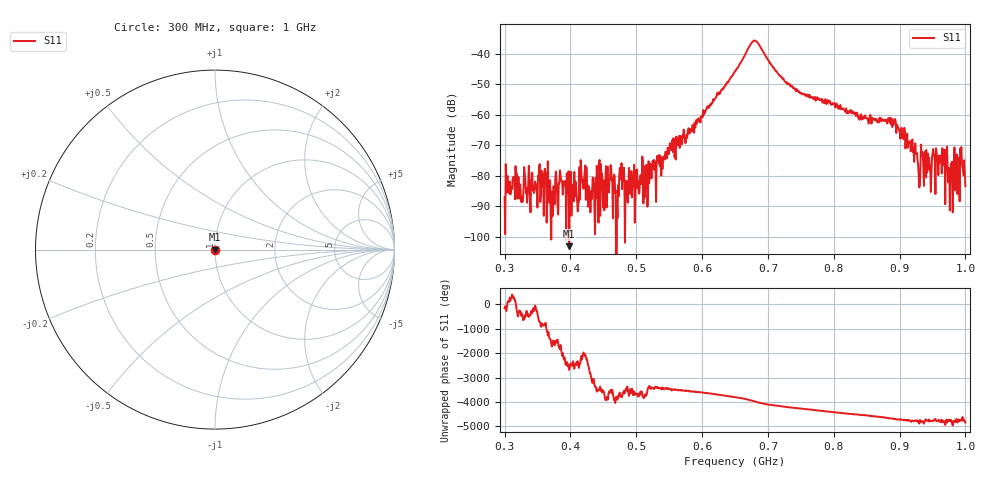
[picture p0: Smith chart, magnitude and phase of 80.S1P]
! C:\Users\rflab\Downloads\q2\80.S1P
! Touchstone 1.1 file saved by VNA.EXE V1.65 (www.ke5fx.com/gpib/readme.htm)
! 11/20/2024 11:08:46 AM
!  Source: HEWLETT PACKARD,8753D,0,6.14
!  Min freq: 3.000000E+008 Hz
!  Max freq: 1.000000E+009 Hz
!  Points: 801
!  Params: S21
# GHZ S MA R 50
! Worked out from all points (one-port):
!   801 points, 300 MHz to 1 GHz, reference 50 ohm
!   lowest |S11| = -103.1 dB at 398 MHz (marker M1), VSWR 1.00, Z = 50 - j0.000124 ohm
!   |S11| at or under -10 dB: start of sweep to end of sweep
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0.3  4.4e-05 -161.5
0.3875  7.6e-05 45.9
0.398  7e-06 -169.8
0.475  0.000134 -16.5
0.514375  6.1e-05 -155.9
0.53975  0.000128 -167.5
0.55375  0.000293 68.7
0.5625  0.000375 88.8
0.587  0.000515 37.2
0.65  0.005086 155.7
0.680625  0.0162 -24.8
0.713875  0.004935 161.1
0.7375  0.002865 81.9
0.825  0.001188 -169.2
0.890625  0.000676 -2.0
0.9125  0.000286 -64.4
0.923  0.000267 -90.8
0.92825  0.000144 -151.8
0.93525  0.000214 -110.9
0.944875  0.000198 -37.8
0.95275  0.000213 -80.2
0.960625  0.000161 -112.7
0.9685  0.000267 174.5
0.97725  8.7e-05 -69.2
0.98775  5e-05 -160.2
0.992125  0.000278 -97.6
0.995625  0.000138 66.3
1  6.7e-05 -167.3
